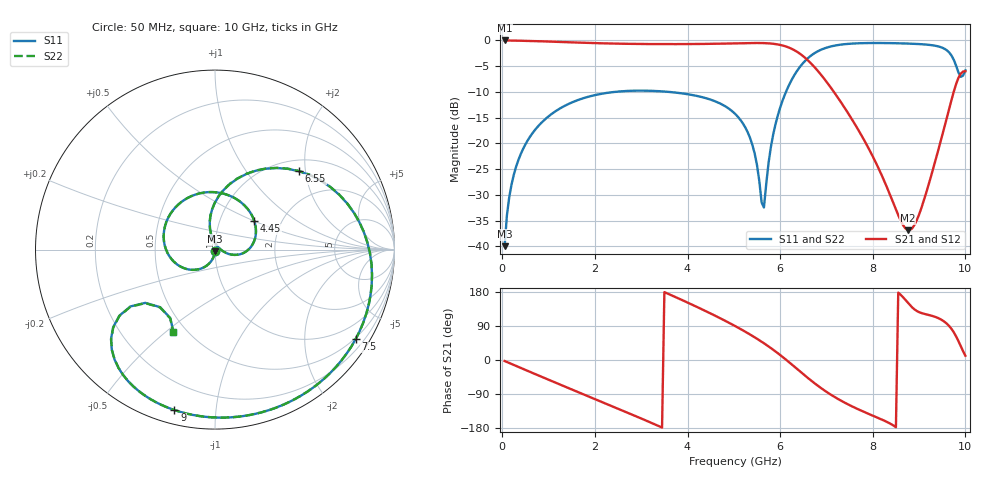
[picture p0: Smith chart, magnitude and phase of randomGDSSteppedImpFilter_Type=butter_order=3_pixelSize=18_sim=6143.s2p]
! freq	dB(S11)	phase(S11)	dB(S12)	phase(S12)
!  dB(S21)	phase(S21)	dB(S22)	phase(S22)
!S-par simulation data
#  GHz  S  DB  R 50
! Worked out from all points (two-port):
!   200 points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, 50 MHz to 10 GHz, reference 50 ohm
!   highest |S21| = 0.00 dB at 50 MHz (marker M1); lowest = -36.8 dB at 8.75 GHz (marker M2)
!   |S21| within 3 dB of the highest: start of sweep to 6.489 GHz
!   lowest |S11| = -40.0 dB at 50 MHz (marker M3), VSWR 1.02, Z = 49.9 - j1 ohm
!   |S11| at or under -10 dB: start of sweep to 2.425 GHz; 3.604 GHz to 6.126 GHz (2.522 GHz wide, 51.8 % of centre)
!   |S22| runs from -40.0 to -0.5 dB; largest |S21 - S12| = 0
!   S11 on the Smith chart (normalised r, x): 50 MHz: 1.00, -0.02; 4.45 GHz: 1.46, +0.50; 6.55 GHz: 1.25, +1.85; 7.5 GHz: 0.46, -3.37; 9 GHz: 0.06, -0.78; 10 GHz: 0.43, -0.53
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0.05  -39.96 -92.7  -0.00 -2.6  -0.00 -2.6  -39.96 -92.7
0.2  -27.95 -100.7  -0.02 -10.5  -0.02 -10.5  -27.95 -100.8
0.5  -20.18 -116.7  -0.08 -26.2  -0.08 -26.2  -20.18 -116.8
1.75  -11.22 178.9  -0.45 -90.4  -0.45 -90.4  -11.22 178.7
2.5  -9.93 140.7  -0.63 -128.5  -0.63 -128.5  -9.93 140.5
3.4  -9.86 93.9  -0.71 -175.5  -0.71 -175.5  -9.86 93.8
4.45  -11.35 35.9  -0.67 125.6  -0.67 125.6  -11.35 36.0
5.05  -14.47 0.7  -0.56 88.1  -0.56 88.1  -14.46 0.9
5.4  -20.27 -17.0  -0.50 63.6  -0.50 63.6  -20.27 -16.8
5.65  -32.45 62.1  -0.52 44.2  -0.52 44.2  -32.40 62.2
5.8  -20.69 104.2  -0.60 31.5  -0.60 31.5  -20.68 104.3
5.95  -14.55 97.9  -0.78 17.9  -0.78 17.9  -14.54 98.1
6.55  -3.87 42.9  -3.46 -42.5  -3.46 -42.5  -3.86 43.1
6.7  -2.72 28.5  -4.77 -57.3  -4.77 -57.3  -2.72 28.7
7.05  -1.27 -1.6  -8.62 -88.0  -8.62 -88.0  -1.27 -1.4
7.5  -0.64 -32.5  -14.60 -119.2  -14.60 -119.2  -0.64 -32.4
8.35  -0.52 -76.0  -29.48 -166.1  -29.48 -166.1  -0.52 -75.9
8.75  -0.60 -93.4  -36.84 152.2  -36.84 152.2  -0.60 -93.3
9  -0.70 -104.2  -33.82 126.3  -33.82 126.3  -0.70 -104.1
9.65  -2.33 -139.3  -13.27 89.6  -13.27 89.6  -2.33 -139.2
9.85  -6.22 -142.6  -7.26 49.8  -7.26 49.8  -6.20 -142.5
10  -5.81 -116.9  -5.98 11.2  -5.98 11.2  -5.79 -117.0
